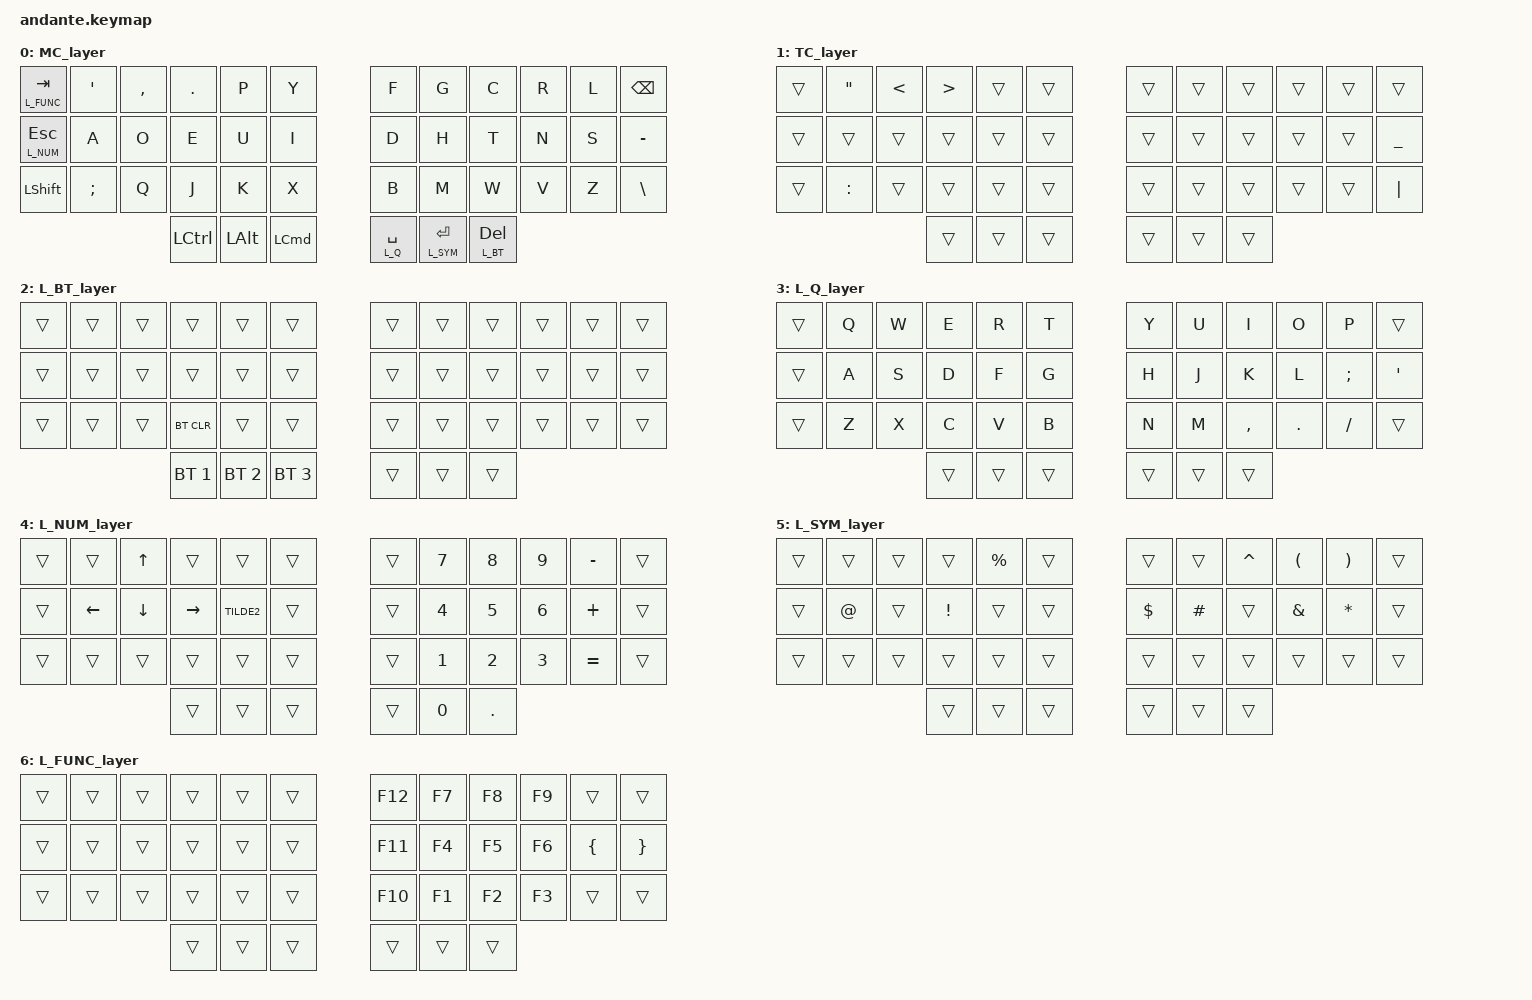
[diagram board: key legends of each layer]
#include <behaviors.dtsi>
#include <dt-bindings/zmk/keys.h>
#include <dt-bindings/zmk/bt.h>
#define L_BT 2
#define L_Q 3
#define L_NUM 4
#define L_SYM 5
#define L_FUNC 6
/ {
  keymap {
    compatible="zmk,keymap";
		MC_layer {
          bindings = <
&lt L_FUNC TAB   &kp SINGLE_QUOTE &kp COMMA        &kp PERIOD    &kp P            &kp Y           &kp F &kp G &kp C &kp R &kp L &kp BACKSPACE
&lt L_NUM ESC    &kp A            &kp O            &kp E         &kp U            &kp I           &kp D &kp H &kp T &kp N &kp S &kp MINUS    
&kp LEFT_SHIFT   &kp SEMICOLON    &kp Q            &kp J         &kp K            &kp X           &kp B &kp M &kp W &kp V &kp Z &kp BACKSLASH
&kp LEFT_CONTROL &kp LEFT_ALT     &kp LEFT_COMMAND &lt L_Q SPACE &lt L_SYM RETURN &lt L_BT DELETE                                            
          >;
        };
		TC_layer {
          bindings = <
&trans &kp DOUBLE_QUOTES &kp LESS_THAN &kp GREATER_THAN &trans &trans &trans &trans &trans &trans &trans &trans        
&trans &trans            &trans        &trans           &trans &trans &trans &trans &trans &trans &trans &kp UNDERSCORE
&trans &kp COLON         &trans        &trans           &trans &trans &trans &trans &trans &trans &trans &kp PIPE      
&trans &trans            &trans        &trans           &trans &trans                                                  
          >;
        };
		L_BT_layer {
          bindings = <
&trans       &trans       &trans       &trans     &trans &trans          &trans &trans &trans &trans &trans &trans
&trans       &trans       &trans       &trans     &trans &trans          &trans &trans &trans &trans &trans &trans
&trans       &trans       &trans       &bt BT_CLR &trans &trans          &trans &trans &trans &trans &trans &trans
&bt BT_SEL 1 &bt BT_SEL 2 &bt BT_SEL 3 &trans     &trans &trans /*L_BT*/                                          
          >;
        };
		L_Q_layer {
          bindings = <
&trans &kp Q  &kp W  &kp E          &kp R  &kp T  &kp Y &kp U &kp I     &kp O      &kp P         &trans          
&trans &kp A  &kp S  &kp D          &kp F  &kp G  &kp H &kp J &kp K     &kp L      &kp SEMICOLON &kp SINGLE_QUOTE
&trans &kp Z  &kp X  &kp C          &kp V  &kp B  &kp N &kp M &kp COMMA &kp PERIOD &kp SLASH     &trans          
&trans &trans &trans &trans /*L_Q*/ &trans &trans                                                                
          >;
        };
		L_NUM_layer {
          bindings = <
&trans           &trans         &kp UP_ARROW   &trans          &trans       &trans     &trans &kp NUMBER_7 &kp NUMBER_8 &kp NUMBER_9 &kp MINUS &trans
&trans /*L_NUM*/ &kp LEFT_ARROW &kp DOWN_ARROW &kp RIGHT_ARROW &kp TILDE2   &trans     &trans &kp NUMBER_4 &kp NUMBER_5 &kp NUMBER_6 &kp PLUS  &trans
&trans           &trans         &trans         &trans          &trans       &trans     &trans &kp NUMBER_1 &kp NUMBER_2 &kp NUMBER_3 &kp EQUAL &trans
&trans           &trans         &trans         &trans          &kp NUMBER_0 &kp PERIOD                                                               
          >;
        };
		L_SYM_layer {
          bindings = <
&trans &trans      &trans &trans          &kp PERCENT      &trans &trans     &trans   &kp CARET &kp LEFT_PARENTHESIS &kp RIGHT_PARENTHESIS &trans
&trans &kp AT_SIGN &trans &kp EXCLAMATION &trans           &trans &kp DOLLAR &kp HASH &trans    &kp AMPERSAND        &kp ASTERISK          &trans
&trans &trans      &trans &trans          &trans           &trans &trans     &trans   &trans    &trans               &trans                &trans
&trans &trans      &trans &trans          &trans /*L_SYM*/ &trans                                                                                
          >;
        };
		L_FUNC_layer {
          bindings = <
&trans /*L_FUNC*/ &trans &trans &trans &trans &trans &kp F12 &kp F7 &kp F8 &kp F9 &trans         &trans         
&trans            &trans &trans &trans &trans &trans &kp F11 &kp F4 &kp F5 &kp F6 &kp LEFT_BRACE &kp RIGHT_BRACE
&trans            &trans &trans &trans &trans &trans &kp F10 &kp F1 &kp F2 &kp F3 &trans         &trans         
&trans            &trans &trans &trans &trans &trans                                                            
          >;
        };
  };
};
